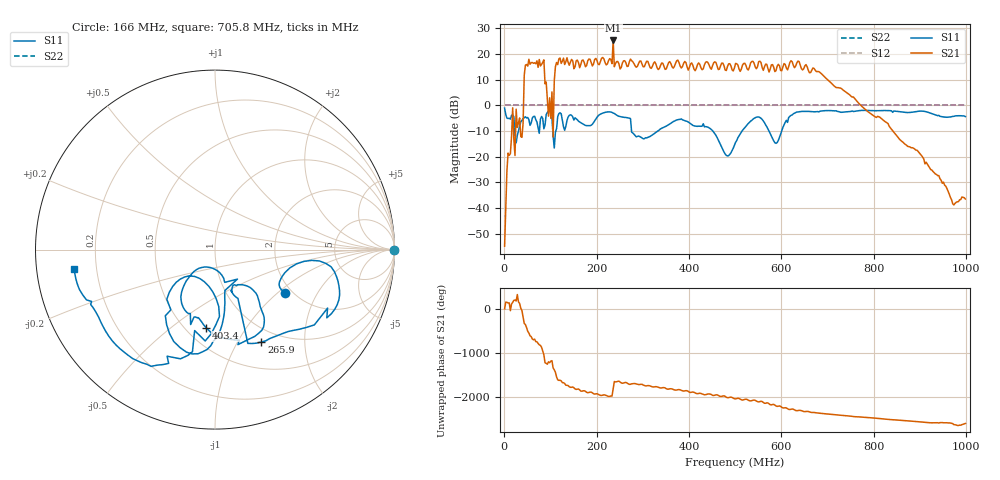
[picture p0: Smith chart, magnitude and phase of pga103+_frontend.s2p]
! Anritsu VNA Master:  Model: MS2024B
! SN:  2417009
! /card0/usr/pga103+_frontend.s2p
! Existing Calibration Information:
! TYPE:  Current Settings,  Active Cal Settings
! TIME:  09/03/2026 11:10:55 PM,  09/03/2026 11:05:05 PM
! INTERNAL TEMP:  50.3 C,  49.3 C
! # POINTS:  400,  400
! START FREQ:  1.000 MHz,  1.000 MHz
! STOP FREQ:  998.250 625 MHz,  998.250 625 MHz
! SOURCE POWER:  Default,  Default
! IFBW:  1 kHz,  1 kHz
! AVG FACTOR:  16 ,  16
! REF PLANE 1:  0 mm,  0 mm
! REF PLANE 2:  0 mm,  0 mm
! CAL TYPE:  1P2P S11,S21,  1P2P S11,S21
! CAL METHOD:  SOLT,  SOLT
! CAL LINE TYPE:  Coax,  Coax
! DUT PORT 1:  N-Conn(M),  N-Conn(M)
! DUT PORT 2:  N-Conn(M),  N-Conn(M)
! CAL STATUS:  OK: Accuracy High,  --
# GHZ S MA R 50.0
! FREQ.GHZ  S11M  S11A  S21M  S21A  S12M  S12A  S22M  S22A
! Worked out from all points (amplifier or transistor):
!   400 points, 1 MHz to 998.3 MHz, reference 50 ohm
!   highest |S21| = 25.3 dB at 235.9 MHz (marker M1)
!   |S21| within 3 dB of that: 235.1 MHz to 236.7 MHz (1.564 MHz wide, 0.663 % of centre)
!   unconditionally stable (mu >= 1): nowhere
!   at 166 MHz: K = 2.76, MSG = 8.0 dB, |S12| = 0.0 dB
!   at 500.9 MHz: K = 3.47, MSG = 8.2 dB, |S12| = 0.0 dB
!   at 998.3 MHz: K = 0.61, MSG = -18.2 dB, |S12| = 0.0 dB
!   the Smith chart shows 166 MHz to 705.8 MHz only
!   S11 on the Smith chart (normalised r, x): 166 MHz: 1.84, -1.12; 265.9 MHz: 0.82, -1.26; 403.4 MHz: 0.63, -0.68; 705.8 MHz: 0.12, -0.07
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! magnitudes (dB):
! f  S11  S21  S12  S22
! 1 MHz  -1.1  -54.9  0.0  0.0
! 5.999 MHz  -4.9  -25.5  0.0  0.0
! 18.5 MHz  -3.6  -1.0  0.0  0.0
! 23.49 MHz  -11.8  -19.6  0.0  0.0
! 25.99 MHz  -14.6  -1.5  0.0  0.0
! 38.49 MHz  -5.8  -12.5  0.0  0.0
! 45.99 MHz  -4.5  15.7  0.0  0.0
! 85.98 MHz  -9.1  17.7  0.0  0.0
! 103.5 MHz  -5.1  5.2  0.0  0.0
! 106 MHz  -11.8  -12.4  0.0  0.0
! 113.5 MHz  -9.0  16.7  0.0  0.0
! 166 MHz  -6.8  16.0  0.0  0.0
! 168.5 MHz  -7.1  17.5  0.0  0.0
! 235.9 MHz  -3.0  25.3  0.0  0.0
! 265.9 MHz  -4.8  15.1  0.0  0.0
! 333.4 MHz  -9.9  13.9  0.0  0.0
! 403.4 MHz  -7.1  16.2  0.0  0.0
! 500.9 MHz  -14.4  16.3  0.0  0.0
! 665.8 MHz  -2.5  13.7  0.0  0.0
! 705.8 MHz  -2.0  9.0  0.0  0.0
! 833.3 MHz  -2.0  -8.1  0.0  0.0
! 998.3 MHz  -4.4  -36.5  0.0  0.0
